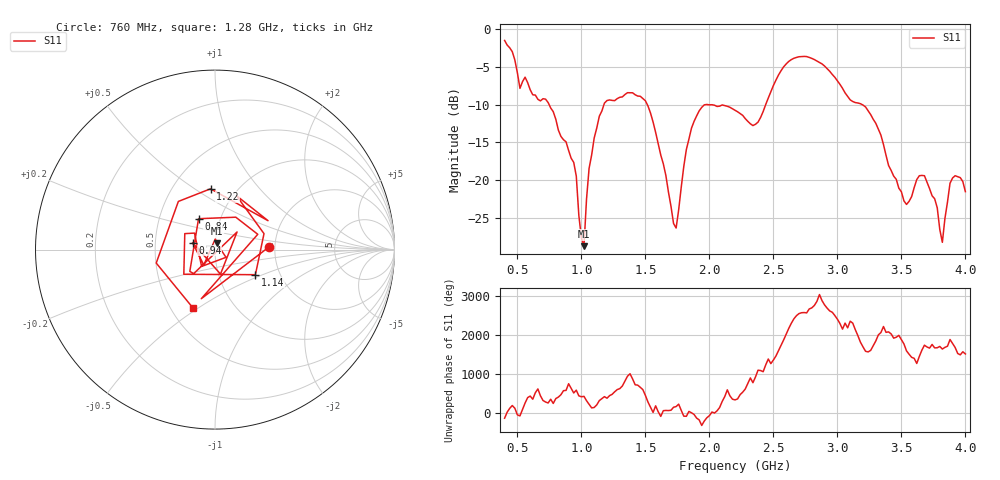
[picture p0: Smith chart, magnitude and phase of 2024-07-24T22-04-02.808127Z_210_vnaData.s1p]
!Created with skrf (http://scikit-rf.org).
# Hz S RI R 50.0
!freq ReS11 ImS11
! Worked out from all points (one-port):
!   181 points, 400 MHz to 4 GHz, reference 50 ohm
!   lowest |S11| = -28.7 dB at 1.02 GHz (marker M1), VSWR 1.08, Z = 50.7 + j3.62 ohm
!   |S11| at or under -10 dB: 1.515 GHz to 1.973 GHz (458.6 MHz wide, 26.3 % of centre); 1.987 GHz to 2.44 GHz (453 MHz wide, 20.5 % of centre); 3.193 GHz to end of sweep (the widest 3 of 4)
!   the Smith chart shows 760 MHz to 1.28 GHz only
!   S11 on the Smith chart (normalised r, x): 760 MHz: 1.86, +0.06; 840 MHz: 0.79, +0.28; 940 MHz: 0.78, +0.06; 1.14 GHz: 1.50, -0.45; 1.22 GHz: 0.76, +0.58; 1.28 GHz: 0.64, -0.47
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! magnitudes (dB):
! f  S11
! 400 MHz  -1.5
! 520 MHz  -7.9
! 760 MHz  -10.4
! 840 MHz  -14.2
! 860 MHz  -14.6
! 940 MHz  -17.6
! 1.02 GHz  -28.7
! 1.06 GHz  -18.4
! 1.14 GHz  -11.5
! 1.22 GHz  -9.4
! 1.28 GHz  -9.2
! 1.3 GHz  -9.0
! 1.5 GHz  -9.5
! 1.72 GHz  -25.7
! 1.76 GHz  -23.9
! 1.82 GHz  -15.9
! 1.92 GHz  -10.8
! 2.2 GHz  -10.8
! 2.38 GHz  -12.3
! 2.66 GHz  -3.9
! 3.1 GHz  -9.4
! 3.3 GHz  -12.5
! 3.56 GHz  -22.8
! 3.68 GHz  -19.4
! 3.78 GHz  -23.6
! 3.82 GHz  -28.2
! 3.88 GHz  -20.4
! 4 GHz  -21.5
